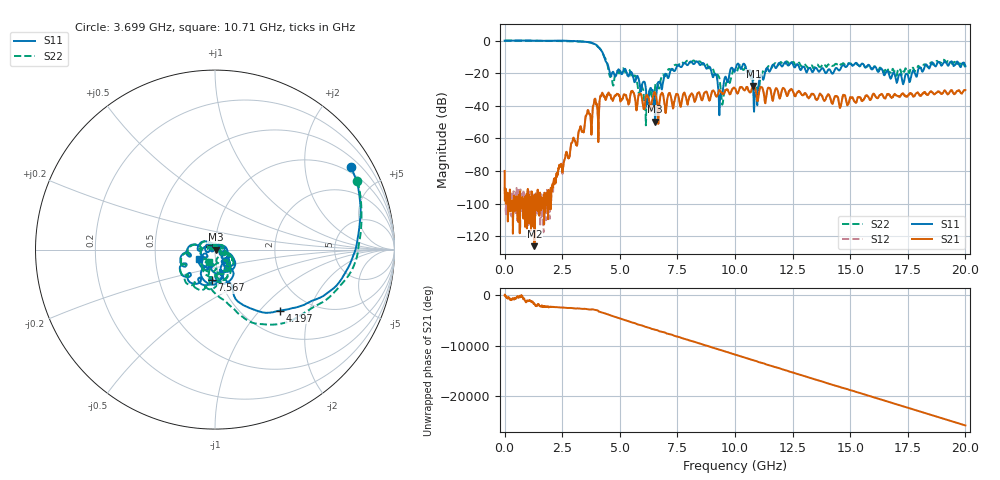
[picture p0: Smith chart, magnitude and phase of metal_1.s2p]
#  HZ  S  RI  R  50.00
! Rohde & Schwarz Vector Network Analyzer
! Rohde-Schwarz,ZNB20-2Port,1311601062102128,3.60
! Created: UTC 4/29/2024, 3:48:29 PM
! freq[Hz]  re:S11  im:S11  re:S21  im:S21  re:S12  im:S12  re:S22  im:S22
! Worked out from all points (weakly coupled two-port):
!   2007 points, 100 kHz to 20 GHz, reference 50 ohm
!   highest |S21| = -27.75 dB at 10.8 GHz (marker M1); lowest = -126.0 dB at 1.296 GHz (marker M2)
!   lowest |S11| = -49.7 dB at 6.53 GHz (marker M3), VSWR 1.01, Z = 50.3 - j0.128 ohm
!   |S11| at or under -10 dB: 4.327 GHz to end of sweep
!   |S22| runs from -51.9 to 0.1 dB; largest |S21 - S12| = 0.002
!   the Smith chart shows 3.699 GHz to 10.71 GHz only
!   S11 on the Smith chart (normalised r, x): 3.699 GHz: 0.78, +3.38; 4.197 GHz: 1.44, -1.30; 7.567 GHz: 0.91, -0.32; 10.71 GHz: 0.83, -0.09
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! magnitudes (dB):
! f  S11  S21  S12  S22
! 100 kHz  0.0  -79.9  -89.8  0.1
! 1.296 GHz  0.0  -126.0  -104.5  -0.1
! 2.453 GHz  0.0  -75.7  -75.9  -0.3
! 3.34 GHz  -0.6  -55.3  -55.0  -0.6
! 3.699 GHz  -1.0  -45.0  -45.1  -1.1
! 4.197 GHz  -6.1  -33.7  -34.1  -6.1
! 4.646 GHz  -20.6  -35.3  -35.4  -22.8
! 5.394 GHz  -21.5  -38.6  -38.7  -17.8
! 6.132 GHz  -29.8  -34.6  -34.6  -51.9
! 6.53 GHz  -49.7  -31.9  -31.9  -28.5
! 6.67 GHz  -25.4  -51.0  -51.1  -27.9
! 7.567 GHz  -15.3  -35.6  -35.6  -14.7
! 8.883 GHz  -16.0  -36.7  -36.7  -17.1
! 9.372 GHz  -33.7  -31.3  -31.3  -28.4
! 10 GHz  -18.5  -29.3  -29.3  -18.0
! 10.71 GHz  -19.6  -30.7  -30.7  -22.6
! 10.8 GHz  -32.3  -27.7  -27.8  -24.8
! 10.91 GHz  -31.9  -31.3  -31.3  -31.4
! 11.66 GHz  -14.8  -35.9  -35.9  -14.9
! 13.34 GHz  -19.0  -32.6  -32.6  -15.2
! 16.67 GHz  -19.9  -32.9  -33.0  -19.5
! 20 GHz  -15.8  -30.3  -30.3  -14.8
